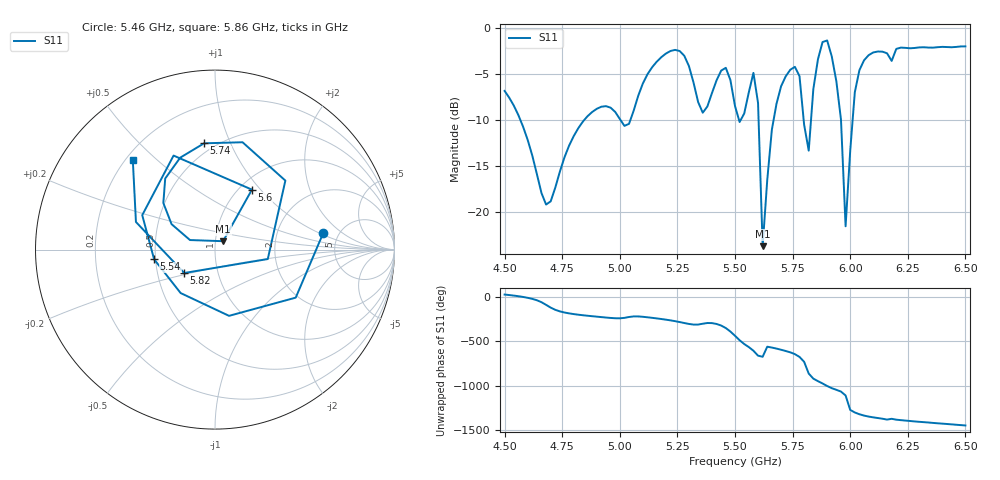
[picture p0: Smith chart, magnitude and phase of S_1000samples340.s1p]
! TOUCHSTONE file generated by CST MICROWAVE STUDIO
! Date and time: Thu Oct 27 20:14:58 2022
! Project name: L.cst
! Parameters = {Di=1.27; Epsilon_r=1.56; InnerDiameter=1.27; Length=2; Lf=10; Lg=60; OuterConductorThickness=0.2921; OuterDiameter=3.6; Wf=3; Wp=41.2; de=1.5; df=6.8; g=0.8; gx=3.07012; gy=1.01809; h=2.34; hf=1.524; px=14.8789; py=14.5059; w=9.7; wx=11.8088; wy=13.4879}
! Header version: 2018
! Port assignment regex: !\s*Touchstone port\s*([0-9]+)\s*=\s*(CST MWS port|CST DS port)\s*([0-9]+|Zmin|Zmax)\s*\(\"(.*)\"\)(\s*mode\s*([0-9]+))?.*
! Touchstone port assignment:
! Touchstone port 1 = CST MWS port 1 ("")
# GHz S DB R 50
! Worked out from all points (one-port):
!   101 points, 4.5 GHz to 6.5 GHz, reference 50 ohm
!   lowest |S11| = -23.8 dB at 5.62 GHz (marker M1), VSWR 1.14, Z = 54.5 + j5.12 ohm
!   |S11| at or under -10 dB: 4.569 GHz to 4.845 GHz (276.7 MHz wide, 5.88 % of centre); 5.003 GHz to 5.046 GHz (42.47 MHz wide, 0.845 % of centre); 5.602 GHz to 5.667 GHz (65.03 MHz wide, 1.15 % of centre) (the widest 3 of 6)
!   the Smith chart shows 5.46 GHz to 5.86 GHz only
!   S11 on the Smith chart (normalised r, x): 5.46 GHz: 3.78, +1.11; 5.54 GHz: 0.49, -0.06; 5.6 GHz: 1.14, +0.90; 5.74 GHz: 0.44, +0.80; 5.82 GHz: 0.69, -0.19; 5.86 GHz: 0.23, +0.42
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4.5  -6.82 24.6
4.68  -19.21 -91.0
4.76  -14.05 -177.0
5  -9.88 117.9
5.14  -4.24 123.3
5.26  -2.46 75.8
5.36  -9.19 57.1
5.42  -5.66 54.4
5.46  -4.30 8.7
5.5  -8.47 -78.0
5.54  -9.28 -171.0
5.58  -4.85 113.8
5.6  -8.13 58.4
5.62  -23.76 46.2
5.66  -11.04 149.7
5.74  -4.51 95.9
5.76  -4.19 75.6
5.8  -10.49 -10.1
5.82  -13.33 -142.8
5.86  -3.37 132.4
5.9  -1.31 77.8
5.92  -3.05 53.7
5.96  -9.95 15.2
5.98  -21.59 -28.2
6  -13.38 169.7
6.08  -2.92 94.7
6.26  -2.16 45.1
6.5  -1.96 -4.9
